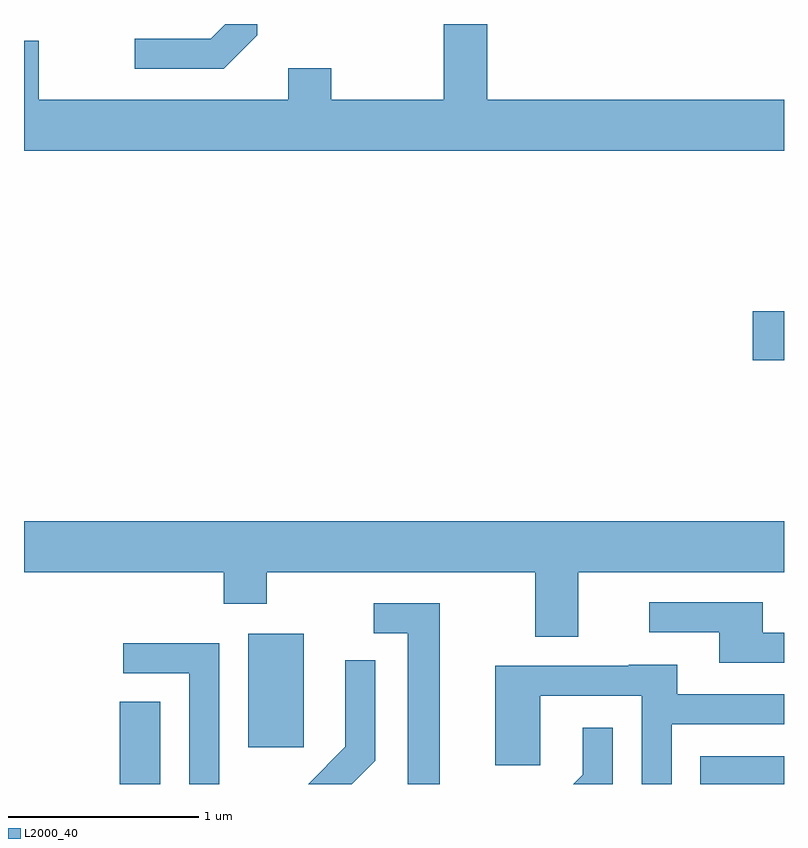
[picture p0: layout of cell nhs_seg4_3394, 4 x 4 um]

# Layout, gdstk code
import gdstk
lib = gdstk.Library(unit=1e-6, precision=1e-09)
def R(c, l, rs):  # rectangles x0, y0, x1, y1
    for r in rs: c.add(gdstk.rectangle(r[:2], r[2:], *l))
def P(c, l, *ps):  # polygons
    for p in ps: c.add(gdstk.Polygon(p, *l))
L2000_40 = (2000, 40)

nhs_seg4_3394 = lib.new_cell('nhs_seg4_3394')
R(nhs_seg4_3394, L2000_40, [(284.116,1377.982,284.329,1378.414), (287.171,1377.982,287.611,1378.129), (284.791,1378.176,285.084,1378.774), (287.446,1380.211,287.611,1380.469)])
P(nhs_seg4_3394, L2000_40, [(287.611,1381.584),(286.049,1381.584),(286.049,1381.982),(285.821,1381.982),(285.821,1381.584),(285.229,1381.584),(285.229,1381.749),(285.001,1381.749),(285.001,1381.584),(283.689,1381.584),(283.689,1381.894),(283.611,1381.894),(283.611,1381.316),(287.611,1381.316)],
  [(284.839,1381.924),(284.839,1381.982),(284.671,1381.982),(284.594,1381.904),(284.193,1381.904),(284.193,1381.746),(284.662,1381.746)],
  [(286.529,1379.096),(287.611,1379.096),(287.611,1379.364),(283.611,1379.364),(283.611,1379.096),(284.661,1379.096),(284.661,1378.931),(284.889,1378.931),(284.889,1379.096),(286.301,1379.096),(286.301,1378.756),(286.529,1378.756)],
  [(287.611,1378.779),(287.499,1378.779),(287.499,1378.939),(286.903,1378.939),(286.903,1378.781),(287.271,1378.781),(287.271,1378.621),(287.611,1378.621)],
  [(285.799,1378.934),(285.453,1378.934),(285.453,1378.776),(285.631,1378.776),(285.631,1377.982),(285.799,1377.982)],
  [(284.639,1378.724),(284.133,1378.724),(284.133,1378.566),(284.481,1378.566),(284.481,1377.982),(284.639,1377.982)],
  [(285.459,1378.104),(285.459,1378.633),(285.301,1378.633),(285.301,1378.177),(285.106,1377.982),(285.337,1377.982)],
  [(287.019,1378.296),(287.611,1378.296),(287.611,1378.454),(287.049,1378.454),(287.049,1378.609),(286.795,1378.609),(286.795,1378.604),(286.091,1378.604),(286.091,1378.081),(286.329,1378.081),(286.329,1378.446),(286.861,1378.446),(286.861,1377.982),(287.019,1377.982)],
  [(286.709,1378.278),(286.551,1378.278),(286.551,1378.032),(286.501,1377.982),(286.709,1377.982)])

lib.write_gds('nhs_seg4_3394.gds')
